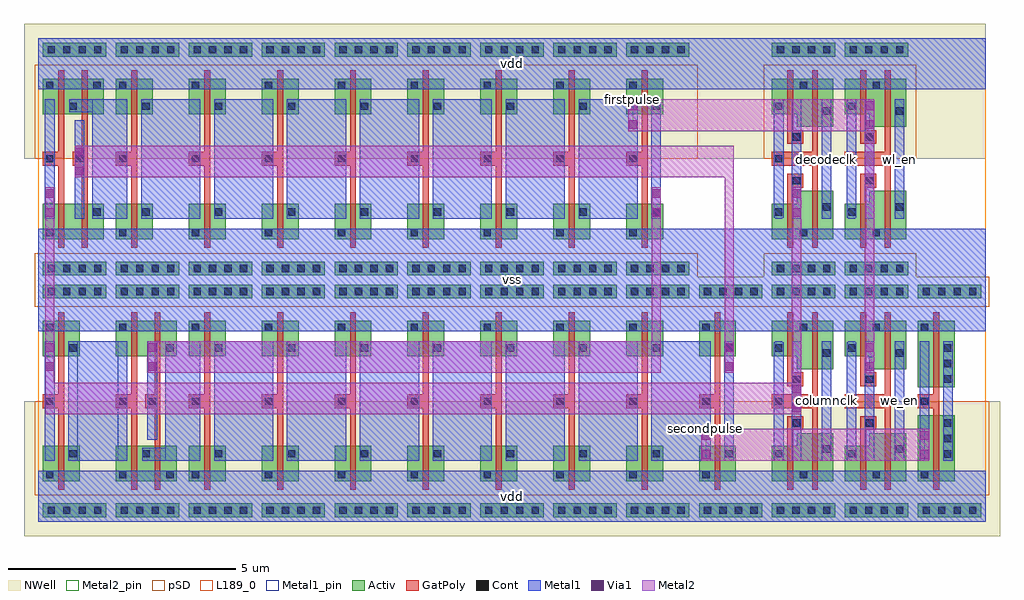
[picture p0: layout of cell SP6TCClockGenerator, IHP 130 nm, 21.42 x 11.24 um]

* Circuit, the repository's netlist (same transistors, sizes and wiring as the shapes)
* memlib


* Device subcircuits
*
.subckt rsil n1 n2 l=1e-6 w=1e-6
.param rsil_res={l*7.0/w}
Rres n1 n2 r={rsil_res} rsil l=l w=w
.ends rsil

.subckt rppd n1 n2 l=1e-6 w=1e-6
.param rppd_res={l*260.0/w}
Rres n1 n2 r={rppd_res} rppd l=l w=w
.ends rppd

.subckt dantenna an cat params: w=0.48e-6 l=0.48e-6
Ddio an cat dantenna a=(w*l) p=(2*(w + l))
.ends dantenna

.subckt dpantenna an cat params: w=0.48e-6 l=0.48e-6
Ddio an cat dpantenna a=(w*l) p=(2*(w + l))
.ends dpantenna

.subckt sg13_lv_nmos s g d b params: l=0.13e-6 w=0.15e-6
Mtrans s g d b sg13_lv_nmos l=l w=w
.ends sg13_lv_nmos

.subckt sg13_lv_pmos s g d b params: l=0.13e-6 w=0.15e-6
Mtrans s g d b sg13_lv_pmos l=l w=w
.ends sg13_lv_pmos

.subckt sg13_hv_nmos s g d b params: l=0.45e-6 w=0.3e-6
Mtrans s g d b sg13_hv_nmos l=l w=w
.ends sg13_hv_nmos

.subckt sg13_hv_pmos s g d b params: l=0.45e-6 w=0.3e-6
Mtrans s g d b sg13_hv_pmos l=l w=w
.ends sg13_hv_pmos

* Library cells
*
.subckt inv_x0 vdd vss i nq
Xnmos vss i nq vss sg13_lv_nmos l=1.3e-07 w=7.8e-07
Xpmos vdd i nq vdd sg13_lv_pmos l=1.3e-07 w=7.8e-07
.ends inv_x0

.subckt nand2_x0 vdd vss nq i0 i1
Xi0_nmos vss i0 _net0 vss sg13_lv_nmos l=1.3e-07 w=7.8e-07
Xi0_pmos vdd i0 nq vdd sg13_lv_pmos l=1.3e-07 w=7.8e-07
Xi1_nmos _net0 i1 nq vss sg13_lv_nmos l=1.3e-07 w=7.8e-07
Xi1_pmos nq i1 vdd vdd sg13_lv_pmos l=1.3e-07 w=7.8e-07
.ends nand2_x0

.subckt SP6TCNonOverlapClock_8S vss vdd clk firststage[0] firststage[1] firststage[2] firststage[3] firststage[4] firststage[5] firststage[6] firststage[7] firststage[8] secondstage[0] secondstage[1] secondstage[2] secondstage[3] secondstage[4] secondstage[5] secondstage[6] secondstage[7] secondstage[8]
Xclkinv vdd vss clk clk_n inv_x0
Xfirstnand2 vdd vss firststage[0] clk secondstage[8] nand2_x0
Xfirststage[0] vdd vss firststage[0] firststage[1] inv_x0
Xfirststage[1] vdd vss firststage[1] firststage[2] inv_x0
Xfirststage[2] vdd vss firststage[2] firststage[3] inv_x0
Xfirststage[3] vdd vss firststage[3] firststage[4] inv_x0
Xfirststage[4] vdd vss firststage[4] firststage[5] inv_x0
Xfirststage[5] vdd vss firststage[5] firststage[6] inv_x0
Xfirststage[6] vdd vss firststage[6] firststage[7] inv_x0
Xfirststage[7] vdd vss firststage[7] firststage[8] inv_x0
Xsecondnand2 vdd vss secondstage[0] clk_n firststage[8] nand2_x0
Xsecondstage[0] vdd vss secondstage[0] secondstage[1] inv_x0
Xsecondstage[1] vdd vss secondstage[1] secondstage[2] inv_x0
Xsecondstage[2] vdd vss secondstage[2] secondstage[3] inv_x0
Xsecondstage[3] vdd vss secondstage[3] secondstage[4] inv_x0
Xsecondstage[4] vdd vss secondstage[4] secondstage[5] inv_x0
Xsecondstage[5] vdd vss secondstage[5] secondstage[6] inv_x0
Xsecondstage[6] vdd vss secondstage[6] secondstage[7] inv_x0
Xsecondstage[7] vdd vss secondstage[7] secondstage[8] inv_x0
.ends SP6TCNonOverlapClock_8S

.subckt buf_x1 vdd vss i q
Xstage0_nmos _i_n i vss vss sg13_lv_nmos l=1.3e-07 w=7.8e-07
Xstage0_pmos _i_n i vdd vdd sg13_lv_pmos l=1.3e-07 w=7.8e-07
Xnmos vss _i_n q vss sg13_lv_nmos l=1.3e-07 w=1.07e-06
Xpmos vdd _i_n q vdd sg13_lv_pmos l=1.3e-07 w=1.06e-06
.ends buf_x1

.subckt inv_x1 vdd vss i nq
Xnmos vss i nq vss sg13_lv_nmos l=1.3e-07 w=1.46e-06
Xpmos vdd i nq vdd sg13_lv_pmos l=1.3e-07 w=1.45e-06
.ends inv_x1

.subckt SP6TCClockGenerator vss vdd clk decodeclk columnclk precharge_n wl_en we_en
Xnonovl vss vdd clk firststage[0] firststage[1] firststage[2] firststage[3] firststage[4] firststage[5] firststage[6] firstpulse firststage[8] secondstage[0] secondstage[1] secondstage[2] secondstage[3] secondstage[4] secondstage[5] secondstage[6] secondpulse secondstage[8] SP6TCNonOverlapClock_8S
Xdecodeclkbuf vdd vss clk decodeclk buf_x1
Xcolumnclkbuf vdd vss clk columnclk buf_x1
Xwlenbuf vdd vss firstpulse wl_en buf_x1
Xweenbuf vdd vss firstpulse we_en buf_x1
Xprechargeinv vdd vss secondpulse precharge_n inv_x1
.ends SP6TCClockGenerator

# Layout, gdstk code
import gdstk
lib = gdstk.Library(unit=1e-6, precision=1e-09)
def R(c, l, rs):  # rectangles x0, y0, x1, y1
    for r in rs: c.add(gdstk.rectangle(r[:2], r[2:], *l))
def A(c, l, x, y, w, h, nx, ny, dx, dy):  # array of equal rectangles
    R(c, l, [(x+i*dx, y+j*dy, x+i*dx+w, y+j*dy+h) for i in range(nx) for j in range(ny)])
def P(c, l, *ps):  # polygons
    for p in ps: c.add(gdstk.Polygon(p, *l))
Activ = (1, 0)
GatPoly = (5, 0)
Cont = (6, 0)
Metal1 = (8, 0)
Metal1_pin = (8, 2)
Metal2 = (10, 0)
Metal2_pin = (10, 2)
pSD = (14, 0)
Via1 = (19, 0)
NWell = (31, 0)
L189_0 = (189, 0)

nand2_x0 = lib.new_cell('nand2_x0')
R(nand2_x0, Activ, [(0.105,0.105,1.495,0.405), (0.105,0.89,1.445,1.67), (0.105,3.64,1.445,4.42), (0.105,4.905,1.495,5.205)])
P(nand2_x0, GatPoly, [(0.445,0.71),(0.445,2.51),(0.105,2.51),(0.105,2.81),(0.445,2.81),(0.445,4.6),(0.575,4.6),(0.575,0.71)],
  [(0.955,0.71),(0.955,2.51),(0.755,2.51),(0.755,2.81),(0.955,2.81),(0.955,4.6),(1.085,4.6),(1.085,0.71)])
A(nand2_x0, Cont, 0.21, 0.175, 0.16, 0.16, 4, 2, 0.34, 4.8)
R(nand2_x0, Cont, [(0.175,0.96,0.335,1.12), (1.215,1.415,1.375,1.575), (0.175,2.58,0.335,2.74), (0.825,2.58,0.985,2.74), (0.685,3.735,0.845,3.895), (0.175,4.19,0.335,4.35), (1.215,4.19,1.375,4.35)])
R(nand2_x0, Metal1, [(0,0,1.6,1.12), (0.15,1.34,0.36,3.97), (0.8,1.34,1.01,3.505), (0,4.19,1.6,5.31)])
P(nand2_x0, Metal1, [(1.19,1.34),(1.19,3.685),(0.685,3.685),(0.685,3.97),(1.4,3.97),(1.4,1.34)])
R(nand2_x0, Metal1_pin, [(0,0,1.6,1.12), (0.15,1.34,0.36,3.97), (0.8,1.34,1.01,3.505), (1.19,1.34,1.4,3.97), (0,4.19,1.6,5.31)])
R(nand2_x0, pSD, [(-0.075,-0.075,1.675,0.585), (-0.075,2.66,1.675,4.72)])
R(nand2_x0, NWell, [(-0.31,2.66,1.91,5.62)])
nand2_x0.add(gdstk.Label('vss', (0.8,0.56), layer=8, texttype=25))
nand2_x0.add(gdstk.Label('vdd', (0.8,4.75), layer=8, texttype=25))
nand2_x0.add(gdstk.Label('i0', (0.255,2.655), layer=8, texttype=25))
nand2_x0.add(gdstk.Label('nq', (1.295,2.655), layer=8, texttype=25))
nand2_x0.add(gdstk.Label('i1', (0.905,2.423), layer=8, texttype=25))

inv_x0 = lib.new_cell('inv_x0')
R(inv_x0, Activ, [(0.105,0.105,1.495,0.405), (0.105,0.89,0.915,1.67), (0.105,3.64,0.915,4.42), (0.105,4.905,1.495,5.205)])
P(inv_x0, GatPoly, [(0.445,0.71),(0.445,2.51),(0.105,2.51),(0.105,2.81),(0.445,2.81),(0.445,4.6),(0.575,4.6),(0.575,0.71)])
A(inv_x0, Cont, 0.21, 0.175, 0.16, 0.16, 4, 2, 0.34, 4.8)
R(inv_x0, Cont, [(0.175,0.96,0.335,1.12), (0.685,1.415,0.845,1.575), (0.175,2.58,0.335,2.74), (0.685,3.735,0.845,3.895), (0.175,4.19,0.335,4.35)])
R(inv_x0, Metal1, [(0,0,1.6,1.12), (0.15,1.34,0.36,3.97), (0.66,1.34,0.87,3.97), (0,4.19,1.6,5.31)])
R(inv_x0, Metal1_pin, [(0,0,1.6,1.12), (0.15,1.34,0.36,3.97), (0.66,1.34,0.87,3.97), (0,4.19,1.6,5.31)])
R(inv_x0, pSD, [(-0.075,-0.075,1.675,0.585), (-0.075,2.66,1.675,4.72)])
R(inv_x0, NWell, [(-0.31,2.66,1.91,5.62)])
inv_x0.add(gdstk.Label('vss', (0.8,0.56), layer=8, texttype=25))
inv_x0.add(gdstk.Label('vdd', (0.8,4.75), layer=8, texttype=25))
inv_x0.add(gdstk.Label('nq', (0.765,2.655), layer=8, texttype=25))
inv_x0.add(gdstk.Label('i', (0.255,2.655), layer=8, texttype=25))

sp6tcnonoverlapclock_8s = lib.new_cell('SP6TCNonOverlapClock_8S')
A(sp6tcnonoverlapclock_8s, Metal1, 3.86, -3.97, 1.3, 2.63, 7, 1, 1.6, 0)
A(sp6tcnonoverlapclock_8s, Metal1, 2.26, 1.34, 1.3, 2.63, 7, 1, 1.6, 0)
R(sp6tcnonoverlapclock_8s, Metal1, [(0,-5.31,16,-4.19), (0.66,-3.97,1.96,-1.34), (2.79,-3.97,3.56,-1.34), (0.15,-2.04,0.36,-1.34), (2.4,-2.04,2.61,-1.34), (15.06,-2.04,15.27,-1.34), (0,-1.12,16,1.12), (0.15,1.34,0.36,2.04), (1.19,1.34,1.96,3.97), (13.46,1.34,13.67,2.04), (0.8,2.25,1.01,2.95), (0,4.19,16,5.31)])
A(sp6tcnonoverlapclock_8s, Metal1_pin, 3.86, -3.97, 1.3, 2.63, 7, 1, 1.6, 0)
A(sp6tcnonoverlapclock_8s, Metal1_pin, 2.26, 1.34, 1.3, 2.63, 7, 1, 1.6, 0)
R(sp6tcnonoverlapclock_8s, Metal1_pin, [(0,-5.31,16,-4.19), (2.79,-3.97,3.56,-1.34), (0,-1.12,16,1.12), (1.19,1.34,1.96,3.97), (0,4.19,16,5.31)])
R(sp6tcnonoverlapclock_8s, Metal2, [(0.155,-2.04,0.355,2.04)])
P(sp6tcnonoverlapclock_8s, Metal2, [(2.405,-2.04),(2.405,-1.34),(13.465,-1.34),(13.465,2.04),(13.665,2.04),(13.665,-2.04)],
  [(15.065,-2.04),(15.065,2.25),(0.805,2.25),(0.805,2.95),(15.265,2.95),(15.265,-2.04)])
R(sp6tcnonoverlapclock_8s, Metal2_pin, [(0.155,-1.69,0.355,1.69)])
R(sp6tcnonoverlapclock_8s, Via1, [(0.16,-1.99,0.35,-1.8), (2.41,-1.99,2.6,-1.8), (15.07,-1.99,15.26,-1.8), (0.16,-1.58,0.35,-1.39), (2.41,-1.58,2.6,-1.39), (15.07,-1.58,15.26,-1.39), (0.16,1.39,0.35,1.58), (13.47,1.39,13.66,1.58), (0.16,1.8,0.35,1.99), (13.47,1.8,13.66,1.99), (0.81,2.3,1,2.49), (0.81,2.71,1,2.9)])
R(sp6tcnonoverlapclock_8s, NWell, [(12.49,2.66,16,5.62)])
R(sp6tcnonoverlapclock_8s, L189_0, [(0,-5.31,16,5.31)])
sp6tcnonoverlapclock_8s.add(gdstk.Reference(nand2_x0, (0,0)))
sp6tcnonoverlapclock_8s.add(gdstk.Reference(inv_x0, (1.6,0)))
sp6tcnonoverlapclock_8s.add(gdstk.Reference(inv_x0, (3.2,0)))
sp6tcnonoverlapclock_8s.add(gdstk.Reference(inv_x0, (4.8,0)))
sp6tcnonoverlapclock_8s.add(gdstk.Reference(inv_x0, (6.4,0)))
sp6tcnonoverlapclock_8s.add(gdstk.Reference(inv_x0, (8,0)))
sp6tcnonoverlapclock_8s.add(gdstk.Reference(inv_x0, (9.6,0)))
sp6tcnonoverlapclock_8s.add(gdstk.Reference(inv_x0, (11.2,0)))
sp6tcnonoverlapclock_8s.add(gdstk.Reference(inv_x0, (12.8,0)))
sp6tcnonoverlapclock_8s.add(gdstk.Reference(inv_x0, (0,0), x_reflection=True))
sp6tcnonoverlapclock_8s.add(gdstk.Reference(nand2_x0, (1.6,0), x_reflection=True))
sp6tcnonoverlapclock_8s.add(gdstk.Reference(inv_x0, (3.2,0), x_reflection=True))
sp6tcnonoverlapclock_8s.add(gdstk.Reference(inv_x0, (4.8,0), x_reflection=True))
sp6tcnonoverlapclock_8s.add(gdstk.Reference(inv_x0, (6.4,0), x_reflection=True))
sp6tcnonoverlapclock_8s.add(gdstk.Reference(inv_x0, (8,0), x_reflection=True))
sp6tcnonoverlapclock_8s.add(gdstk.Reference(inv_x0, (9.6,0), x_reflection=True))
sp6tcnonoverlapclock_8s.add(gdstk.Reference(inv_x0, (11.2,0), x_reflection=True))
sp6tcnonoverlapclock_8s.add(gdstk.Reference(inv_x0, (12.8,0), x_reflection=True))
sp6tcnonoverlapclock_8s.add(gdstk.Reference(inv_x0, (14.4,0), x_reflection=True))
sp6tcnonoverlapclock_8s.add(gdstk.Label('vss', (8,0), layer=8, texttype=25))
sp6tcnonoverlapclock_8s.add(gdstk.Label('vdd', (8,4.75), layer=8, texttype=25))
sp6tcnonoverlapclock_8s.add(gdstk.Label('vdd', (8,-4.75), layer=8, texttype=25))
sp6tcnonoverlapclock_8s.add(gdstk.Label('firststage[0]', (1.575,2.655), layer=8, texttype=25))
sp6tcnonoverlapclock_8s.add(gdstk.Label('firststage[1]', (2.91,2.655), layer=8, texttype=25))
sp6tcnonoverlapclock_8s.add(gdstk.Label('firststage[2]', (4.51,2.655), layer=8, texttype=25))
sp6tcnonoverlapclock_8s.add(gdstk.Label('firststage[3]', (6.11,2.655), layer=8, texttype=25))
sp6tcnonoverlapclock_8s.add(gdstk.Label('firststage[4]', (7.71,2.655), layer=8, texttype=25))
sp6tcnonoverlapclock_8s.add(gdstk.Label('firststage[5]', (9.31,2.655), layer=8, texttype=25))
sp6tcnonoverlapclock_8s.add(gdstk.Label('firststage[6]', (10.91,2.655), layer=8, texttype=25))
sp6tcnonoverlapclock_8s.add(gdstk.Label('firststage[7]', (12.51,2.655), layer=8, texttype=25))
sp6tcnonoverlapclock_8s.add(gdstk.Label('secondstage[0]', (3.175,-2.655), layer=8, texttype=25))
sp6tcnonoverlapclock_8s.add(gdstk.Label('secondstage[1]', (4.51,-2.655), layer=8, texttype=25))
sp6tcnonoverlapclock_8s.add(gdstk.Label('secondstage[2]', (6.11,-2.655), layer=8, texttype=25))
sp6tcnonoverlapclock_8s.add(gdstk.Label('secondstage[3]', (7.71,-2.655), layer=8, texttype=25))
sp6tcnonoverlapclock_8s.add(gdstk.Label('secondstage[4]', (9.31,-2.655), layer=8, texttype=25))
sp6tcnonoverlapclock_8s.add(gdstk.Label('secondstage[5]', (10.91,-2.655), layer=8, texttype=25))
sp6tcnonoverlapclock_8s.add(gdstk.Label('secondstage[6]', (12.51,-2.655), layer=8, texttype=25))
sp6tcnonoverlapclock_8s.add(gdstk.Label('secondstage[7]', (14.11,-2.655), layer=8, texttype=25))
sp6tcnonoverlapclock_8s.add(gdstk.Label('clk', (0.355,1.69), layer=10, texttype=25))

buf_x1 = lib.new_cell('buf_x1')
R(buf_x1, Activ, [(0.105,0.105,1.495,0.405), (0.105,4.905,1.495,5.205)])
P(buf_x1, Activ, [(0.645,3.36),(0.645,3.64),(0.105,3.64),(0.105,4.42),(1.455,4.42),(1.455,3.36)],
  [(0.105,0.89),(0.105,1.67),(0.645,1.67),(0.645,1.96),(1.455,1.96),(1.455,0.89)])
P(buf_x1, GatPoly, [(0.985,0.71),(0.985,2.51),(0.105,2.51),(0.105,2.81),(0.985,2.81),(0.985,4.6),(1.115,4.6),(1.115,0.71)],
  [(0.445,0.71),(0.445,2.33),(0.795,2.33),(0.795,2.03),(0.575,2.03),(0.575,0.71)],
  [(0.445,2.99),(0.445,4.6),(0.575,4.6),(0.575,3.29),(0.795,3.29),(0.795,2.99)])
A(buf_x1, Cont, 0.21, 0.175, 0.16, 0.16, 4, 2, 0.34, 4.8)
R(buf_x1, Cont, [(0.715,0.96,0.875,1.12), (0.175,1.415,0.335,1.575), (1.225,1.525,1.385,1.685), (0.565,2.1,0.725,2.26), (0.175,2.58,0.335,2.74), (0.565,3.06,0.725,3.22), (1.225,3.63,1.385,3.79), (0.175,3.735,0.335,3.895), (0.715,4.19,0.875,4.35)])
R(buf_x1, Metal1, [(0,0,1.6,1.12), (0.54,1.34,0.75,3.97), (1.2,1.34,1.41,3.97), (0,4.19,1.6,5.31)])
P(buf_x1, Metal1, [(0.175,1.34),(0.175,1.365),(0.15,1.365),(0.15,3.945),(0.175,3.945),(0.175,3.97),(0.335,3.97),(0.335,3.945),(0.36,3.945),(0.36,1.365),(0.335,1.365),(0.335,1.34)])
R(buf_x1, Metal1_pin, [(0,0,1.6,1.12), (0.54,1.34,0.75,3.97), (1.2,1.34,1.41,3.97), (0,4.19,1.6,5.31)])
R(buf_x1, pSD, [(-0.075,-0.075,1.675,0.585), (-0.075,2.66,1.675,4.72)])
R(buf_x1, NWell, [(-0.31,2.66,1.91,5.62)])
buf_x1.add(gdstk.Label('vdd', (0.8,4.75), layer=8, texttype=25))
buf_x1.add(gdstk.Label('vss', (0.8,0.56), layer=8, texttype=25))
buf_x1.add(gdstk.Label('i', (0.645,2.655), layer=8, texttype=25))
buf_x1.add(gdstk.Label('q', (1.305,2.655), layer=8, texttype=25))

inv_x1 = lib.new_cell('inv_x1')
R(inv_x1, Activ, [(0.105,0.105,1.495,0.405), (0.105,0.89,0.915,2.35), (0.105,2.97,0.915,4.42), (0.105,4.905,1.495,5.205)])
P(inv_x1, GatPoly, [(0.445,0.71),(0.445,2.51),(0.105,2.51),(0.105,2.81),(0.445,2.81),(0.445,4.6),(0.575,4.6),(0.575,0.71)])
A(inv_x1, Cont, 0.21, 0.175, 0.16, 0.16, 4, 2, 0.34, 4.8)
A(inv_x1, Cont, 0.685, 1.415, 0.16, 0.16, 1, 3, 0, 0.34)
A(inv_x1, Cont, 0.685, 3.06, 0.16, 0.16, 1, 3, 0, 0.34)
R(inv_x1, Cont, [(0.175,0.96,0.335,1.12), (0.175,2.58,0.335,2.74), (0.175,4.19,0.335,4.35)])
R(inv_x1, Metal1, [(0,0,1.6,1.12), (0.15,1.34,0.36,3.97), (0.66,1.34,0.87,3.97), (0,4.19,1.6,5.31)])
R(inv_x1, Metal1_pin, [(0,0,1.6,1.12), (0.15,1.34,0.36,3.97), (0.66,1.34,0.87,3.97), (0,4.19,1.6,5.31)])
R(inv_x1, pSD, [(-0.075,-0.075,1.675,0.585), (-0.075,2.66,1.675,4.72)])
R(inv_x1, NWell, [(-0.31,2.66,1.91,5.62)])
inv_x1.add(gdstk.Label('vss', (0.8,0.56), layer=8, texttype=25))
inv_x1.add(gdstk.Label('vdd', (0.8,4.75), layer=8, texttype=25))
inv_x1.add(gdstk.Label('nq', (0.765,2.655), layer=8, texttype=25))
inv_x1.add(gdstk.Label('i', (0.255,2.655), layer=8, texttype=25))

sp6tcclockgenerator = lib.new_cell('SP6TCClockGenerator')
R(sp6tcclockgenerator, Metal1, [(0,-5.31,20.8,-4.19), (14.55,-3.97,14.76,-3.27), (17.2,-3.97,17.41,-1.34), (18.8,-3.97,19.01,-1.34), (19.35,-3.97,19.56,-3.27), (19.86,-3.97,20.07,-1.34), (16.54,-2.95,16.75,-2.25), (18.14,-2.04,18.35,-1.34), (0,-1.12,20.8,1.12), (16.54,1.34,16.75,2.04), (17.2,1.34,17.41,3.97), (18.8,1.34,19.01,3.97), (12.95,3.27,13.16,3.97), (18.14,3.27,18.35,3.97), (0,4.19,20.8,5.31)])
R(sp6tcclockgenerator, Metal1_pin, [(0,-5.31,20.8,-4.19), (17.2,-3.97,17.41,-1.34), (18.8,-3.97,19.01,-1.34), (19.86,-3.97,20.07,-1.34), (0,-1.12,20.8,1.12), (17.2,1.34,17.41,3.97), (18.8,1.34,19.01,3.97), (0,4.19,20.8,5.31)])
R(sp6tcclockgenerator, Metal2, [(14.555,-3.97,19.555,-3.27)])
P(sp6tcclockgenerator, Metal2, [(0.155,-2.95),(0.155,0),(0.355,0),(0.355,-2.25),(16.545,-2.25),(16.545,2.04),(16.745,2.04),(16.745,-2.95)],
  [(18.145,-2.04),(18.145,3.27),(12.955,3.27),(12.955,3.97),(18.345,3.97),(18.345,-2.04)])
R(sp6tcclockgenerator, Metal2_pin, [(14.655,-3.97,19.455,-3.27)])
P(sp6tcclockgenerator, Metal2_pin, [(18.145,-1.69),(18.145,3.27),(13.055,3.27),(13.055,3.97),(18.345,3.97),(18.345,-1.69)])
R(sp6tcclockgenerator, Via1, [(14.56,-3.92,14.75,-3.73), (19.36,-3.92,19.55,-3.73), (14.56,-3.51,14.75,-3.32), (19.36,-3.51,19.55,-3.32), (16.55,-2.9,16.74,-2.71), (16.55,-2.49,16.74,-2.3), (18.15,-1.99,18.34,-1.8), (18.15,-1.58,18.34,-1.39), (16.55,1.39,16.74,1.58), (16.55,1.8,16.74,1.99), (12.96,3.32,13.15,3.51), (18.15,3.32,18.34,3.51), (12.96,3.73,13.15,3.92), (18.15,3.73,18.34,3.92)])
R(sp6tcclockgenerator, NWell, [(15.69,2.66,20.8,5.62)])
R(sp6tcclockgenerator, L189_0, [(0,-5.31,20.8,5.31)])
sp6tcclockgenerator.add(gdstk.Reference(sp6tcnonoverlapclock_8s, (0,0)))
sp6tcclockgenerator.add(gdstk.Reference(buf_x1, (16,0)))
sp6tcclockgenerator.add(gdstk.Reference(buf_x1, (16,0), x_reflection=True))
sp6tcclockgenerator.add(gdstk.Reference(buf_x1, (17.6,0)))
sp6tcclockgenerator.add(gdstk.Reference(buf_x1, (17.6,0), x_reflection=True))
sp6tcclockgenerator.add(gdstk.Reference(inv_x1, (19.2,0), x_reflection=True))
sp6tcclockgenerator.add(gdstk.Label('vss', (10.4,0), layer=8, texttype=25))
sp6tcclockgenerator.add(gdstk.Label('vdd', (10.4,-4.75), layer=8, texttype=25))
sp6tcclockgenerator.add(gdstk.Label('vdd', (10.4,4.75), layer=8, texttype=25))
sp6tcclockgenerator.add(gdstk.Label('decodeclk', (17.305,2.655), layer=8, texttype=25))
sp6tcclockgenerator.add(gdstk.Label('columnclk', (17.305,-2.655), layer=8, texttype=25))
sp6tcclockgenerator.add(gdstk.Label('wl_en', (18.905,2.655), layer=8, texttype=25))
sp6tcclockgenerator.add(gdstk.Label('we_en', (18.905,-2.655), layer=8, texttype=25))
sp6tcclockgenerator.add(gdstk.Label('precharge_n', (19.965,-2.655), layer=8, texttype=25))
sp6tcclockgenerator.add(gdstk.Label('firstpulse', (13.055,3.97), layer=10, texttype=25))
sp6tcclockgenerator.add(gdstk.Label('secondpulse', (14.655,-3.27), layer=10, texttype=25))

lib.write_gds('SP6TCClockGenerator.gds')
